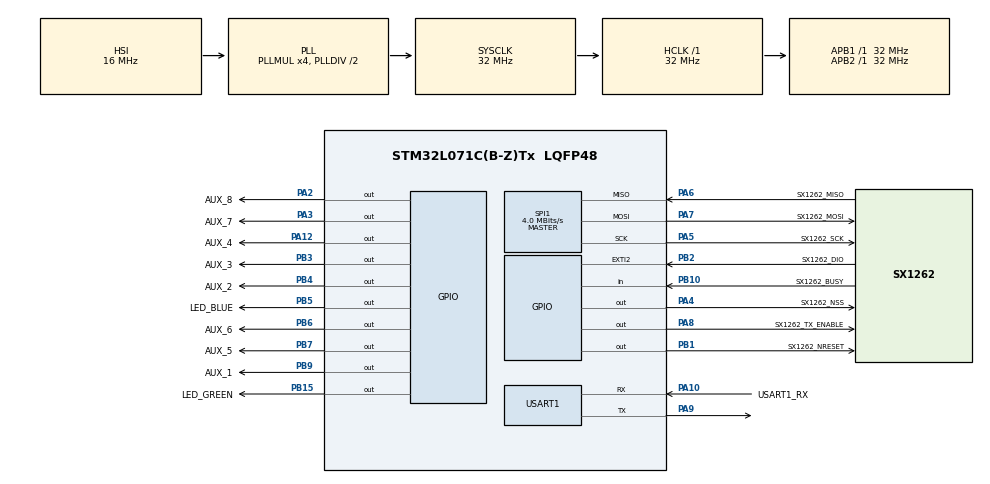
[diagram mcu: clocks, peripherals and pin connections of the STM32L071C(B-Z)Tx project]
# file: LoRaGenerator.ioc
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Mcu.Family=STM32L0
FREERTOS.Queues01=QueueCore,20,DATA_QUEUE,0,Static,QueueCoreBuffer,QueueCoreControlBlock;QueueRF,20,DATA_QUEUE,0,Static,QueueRFBuffer,QueueRFControlBlock
PA6.Mode=Full_Duplex_Master
VP_TIM6_VS_OPM.Mode=OPM_bit
SPI1.VirtualType=VM_MASTER
Dma.USART1_TX.1.MemInc=DMA_MINC_ENABLE
NVIC.PVD_IRQn=true\:3\:0\:true\:false\:true\:true\:true\:true
PA6.GPIO_Label=SX1262_MISO
PB6.GPIO_Label=AUX_6
PB15.Signal=GPIO_Output
FREERTOS.configUSE_TASK_NOTIFICATIONS=1
RCC.SYSCLKSource=RCC_SYSCLKSOURCE_PLLCLK
ProjectManager.StackSize=0x400
SYS.Mode=PWR_PVD_MODE_IT_RISING
PA12.Signal=GPIO_Output
Mcu.UserConstants=SHORT_PRESS_PERIOD,2;LONG_PRESS_PERIOD,40;REPEAT_PRESS_PERIOD,50;EXTRA_LONG_PRESS,55
SPI1.Direction=SPI_DIRECTION_2LINES
RCC.HCLKFreq_Value=32000000
RCC.APB2TimFreq_Value=32000000
PB6.Signal=GPIO_Output
SPI1.CalculateBaudRate=4.0 MBits/s
FREERTOS.configUSE_MALLOC_FAILED_HOOK=1
FREERTOS.configMINIMAL_STACK_SIZE=128
RCC.AHBFreq_Value=32000000
Dma.USART1_RX.0.Priority=DMA_PRIORITY_LOW
RCC.HSE_VALUE=8000000
FREERTOS.configUSE_TIMERS=1
PB2.Signal=GPXTI2
RCC.RTCClockSelection=RCC_RTCCLKSOURCE_LSI
RCC.PLLMUL=RCC_PLLMUL_4
RCC.RTCClockSelectionVirtual=RCC_RTCCLKSOURCE_LSE
PA14.Mode=Serial_Wire
PB1.GPIO_Label=SX1262_NRESET
PA10.GPIO_Label=USART1_RX
PB7.Signal=GPIO_Output
PA8.Signal=GPIO_Output
TIM6.Period=250
VP_FREERTOS_VS_CMSIS_V1.Mode=CMSIS_V1
Dma.USART1_RX.0.MemInc=DMA_MINC_ENABLE
FREERTOS.configTIMER_TASK_PRIORITY=3
FREERTOS.configTOTAL_HEAP_SIZE=2000
Dma.USART1_TX.1.PeriphDataAlignment=DMA_PDATAALIGN_BYTE
PB7.GPIO_Label=AUX_5
PB9.Signal=GPIO_Output
Mcu.Package=LQFP48
PA6.Signal=SPI1_MISO
PB1.Signal=GPIO_Output
PA2.GPIO_Label=AUX_8
PA10.Signal=USART1_RX
VP_SYS_V_PVD_IN.Mode=Mode_PVD_Int
PB5.GPIO_Label=LED_BLUE
Dma.Request1=USART1_TX
RCC.APB1TimFreq_Value=32000000
FREERTOS.configGENERATE_RUN_TIME_STATS=0
Dma.USART1_RX.0.Mode=DMA_CIRCULAR
Dma.USART1_TX.1.Priority=DMA_PRIORITY_LOW
Dma.Request0=USART1_RX
SPI1.BaudRatePrescaler=SPI_BAUDRATEPRESCALER_8
PA4.GPIO_Label=SX1262_NSS
Dma.USART1_RX.0.Instance=DMA1_Channel3
RCC.MSIClockRange=RCC_MSIRANGE_6
PB4.Signal=GPIO_Output
PA3.Signal=GPIO_Output
PA5.Mode=Full_Duplex_Master
Dma.USART1_TX.1.Direction=DMA_MEMORY_TO_PERIPH
PB3.GPIO_Label=AUX_3
RCC.MSI_VALUE=4194000
FREERTOS.configTIMER_QUEUE_LENGTH=10
Dma.USART1_TX.1.Instance=DMA1_Channel2
FREERTOS.Tasks01=TaskCore,0,350,StartTaskCore,As weak,NULL,Static,TaskCoreBuffer,TaskCoreControlBlock;TaskRF,0,300,StartTaskRF,As weak,NULL,Static,TaskRFBuffer,TaskRFControlBlock
PA7.Mode=Full_Duplex_Master
Dma.USART1_RX.0.PeriphDataAlignment=DMA_PDATAALIGN_BYTE
PB9.GPIO_Label=AUX_1
PA10.Mode=Asynchronous
FREERTOS.configCHECK_FOR_STACK_OVERFLOW=1
FREERTOS.configUSE_TICKLESS_IDLE=1
TIM6.Prescaler=2000
VP_TIM6_VS_ClockSourceINT.Mode=Enable_Timer
PA12.GPIO_Label=AUX_4
FREERTOS.INCLUDE_uxTaskGetStackHighWaterMark=1
NVIC.TIM6_IRQn=true\:0\:0\:false\:false\:true\:true\:true\:true
USART1.VirtualMode-Asynchronous=VM_ASYNC
PA13.Signal=SYS_SWDIO
RCC.HSI16_VALUE=16000000
PA9.Mode=Asynchronous
PA8.GPIO_Label=SX1262_TX_ENABLE
FREERTOS.configRECORD_STACK_HIGH_ADDRESS=1
ProjectManager.TargetToolchain=TrueSTUDIO
PB10.GPIO_Label=SX1262_BUSY
FREERTOS.configTIMER_TASK_STACK_DEPTH=300
FREERTOS.configUSE_TRACE_FACILITY=0
Dma.USART1_RX.0.Direction=DMA_PERIPH_TO_MEMORY
PA9.Signal=USART1_TX
RCC.LSE_VALUE=32768
Dma.USART1_RX.0.PeriphInc=DMA_PINC_DISABLE
PB10.Signal=GPIO_Input
PA5.Signal=SPI1_SCK
FREERTOS.MEMORY_ALLOCATION=2
Dma.USART1_TX.1.MemDataAlignment=DMA_MDATAALIGN_BYTE
board=custom
RCC.VCOOutputFreq_Value=64000000
NVIC.EXTI2_3_IRQn=true\:0\:0\:false\:false\:true\:false\:true\:true
RCC.APB2Freq_Value=32000000
PB4.GPIO_Label=AUX_2
PB15.GPIO_Label=LED_GREEN
SPI1.Mode=SPI_MODE_MASTER
Dma.USART1_RX.0.MemDataAlignment=DMA_MDATAALIGN_BYTE
PA13.Mode=Serial_Wire
Mcu.Name=STM32L071C(B-Z)Tx
PA2.Signal=GPIO_Output
PB3.Signal=GPIO_Output
PA4.Signal=GPIO_Output
RCC.SYSCLKFreq_VALUE=32000000
FREERTOS.configLIBRARY_MAX_SYSCALL_INTERRUPT_PRIORITY=3
PB5.Signal=GPIO_Output
PA7.GPIO_Label=SX1262_MOSI
PA5.GPIO_Label=SX1262_SCK
Dma.USART1_TX.1.Mode=DMA_NORMAL
PA14.Signal=SYS_SWCLK
PB2.GPIO_Label=SX1262_DIO
ProjectManager.HeapSize=0x200
Dma.USART1_TX.1.PeriphInc=DMA_PINC_DISABLE
FREERTOS.Timers01=TimerRepeateTX,CallbackRepeateTx,osTimerOnce,As weak,NULL,Static,TimerRepeateTXControlBlock;TimerUartRxCheck,CallbackUartRxCheck,osTimerOnce,As weak,NULL,Static,TimerUartRxCheckControlBlock;TimerTxRfTimeout,CallbackTxRfTimeout,osTimerOnce,As weak,NULL,Static,TimerTxRfTimeoutControlBlock
RCC.HSI_VALUE=16000000
NVIC.DMA1_Channel2_3_IRQn=true\:0\:0\:false\:false\:true\:true\:true\:true
RCC.APB1Freq_Value=32000000
PA3.GPIO_Label=AUX_7
PA7.Signal=SPI1_MOSI

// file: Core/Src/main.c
/* USER CODE BEGIN Header */
/**
  ******************************************************************************
  * @file           : main.c
  * @brief          : Main program body
  ******************************************************************************
  * @attention
  *
  * <h2><center>&copy; Copyright (c) 2020 STMicroelectronics.
  * All rights reserved.</center></h2>
  *
  * This software component is licensed by ST under Ultimate Liberty license
  * SLA0044, the "License"; You may not use this file except in compliance with
  * the License. You may obtain a copy of the License at:
  *                             www.st.com/SLA0044
  *
  ******************************************************************************
  */
/* USER CODE END Header */
#include "main.h"
#include "cmsis_os.h"
#include "dma.h"
#include "spi.h"
#include "tim.h"
#include "usart.h"
#include "gpio.h"

/* USER CODE BEGIN Includes */
#include "TaskRF.h"
#include "TaskCore.h"

/* USER CODE END Includes */

/* USER CODE BEGIN PV */
extern osMessageQId QueueRFHandle;
/* USER CODE END PV */

void SystemClock_Config(void);
void MX_FREERTOS_Init(void);

/* USER CODE BEGIN 0 */

/**
 *
 * @param error
 */
void LogError(uint64_t error)
{
#if (RUN_WITH_DEBUG==1)
	taskDISABLE_INTERRUPTS();

	while(1);

#else
	HAL_RCC_DeInit();
	HAL_NVIC_SystemReset();
	while(1);	//pripadne to schodi WD
#endif

}

#if (RUN_WITH_DEBUG==1)
void MeasureStart()
{
	LL_GPIO_SetOutputPin(TestPoint_GPIO_Port,TestPoint_Pin);
}

void MeasureStop()
{
	LL_GPIO_ResetOutputPin(TestPoint_GPIO_Port,TestPoint_Pin);
}
#endif

/**
 *
 * @return
 */
bool M_IsMcuLocked()
{
//	bool pulseCalibOK;
//	bool rfRssiCalibOK;
//	bool rfTxCalibOK;
	FLASH_OBProgramInitTypeDef flashTemp;

	/* cteni trva 27 us*/
	HAL_FLASHEx_OBGetConfig(&flashTemp);
	if(OB_RDP_LEVEL_0 != flashTemp.RDPLevel)
	{
		return true;
	}

//	memcpy(&pulseCalibOK,(uint8_t*)EEPROM_PULSE_CALIB_OK,1);
//	memcpy(&rfRssiCalibOK,(uint8_t*)EEPROM_PULSE_RSSI_OK,1);
//	memcpy(&rfTxCalibOK,(uint8_t*)EEPROM_RF_TX_OK,1);
//
//	if(rfTxCalibOK&&pulseCalibOK&&rfRssiCalibOK)
//	{
//		return true;
//	}

	return false;

}
/* USER CODE END 0 */

int main(void)
{
  /* USER CODE BEGIN 1 */
	// __DMB(); //ARM says to use a DMB instruction before relocating VTOR */
  SCB->VTOR = 0x8004000; //We relocate vector table to the APP sector
				 // __DSB(); //ARM says to use a DSB instruction just after relocating VTOR */
  /* USER CODE END 1 */

  /* MCU Configuration--------------------------------------------------------*/

  /* Reset of all peripherals, Initializes the Flash interface and the Systick. */
  HAL_Init();

  /* Configure the system clock */
  SystemClock_Config();

  /* USER CODE BEGIN SysInit */
  /* Systick turn of -we use a different timer*/
  //SysTick->CTRL&=~ SysTick_CTRL_ENABLE_Msk;

//  DBGMCU->CR |= DBGMCU_CR_DBG_SLEEP | DBGMCU_CR_DBG_STOP | DBGMCU_CR_DBG_STANDBY;
  __HAL_RCC_DBGMCU_CLK_ENABLE();

  LL_DBGMCU_EnableDBGSleepMode();
  LL_DBGMCU_EnableDBGStopMode();

  LL_DBGMCU_APB1_GRP1_FreezePeriph(	LL_DBGMCU_APB1_GRP1_TIM2_STOP|LL_DBGMCU_APB1_GRP1_TIM3_STOP|LL_DBGMCU_APB1_GRP1_TIM6_STOP|LL_DBGMCU_APB1_GRP1_TIM7_STOP
		  |LL_DBGMCU_APB1_GRP1_RTC_STOP|LL_DBGMCU_APB1_GRP1_WWDG_STOP | LL_DBGMCU_APB1_GRP1_IWDG_STOP);

  LL_DBGMCU_APB2_GRP1_FreezePeriph(LL_DBGMCU_APB2_GRP1_TIM22_STOP|LL_DBGMCU_APB2_GRP1_TIM21_STOP);

  LL_DBGMCU_APB1_GRP1_FreezePeriph(LL_DBGMCU_APB1_GRP1_WWDG_STOP);

  /* USER CODE END SysInit */

  /* Initialize all configured peripherals */
  MX_GPIO_Init();
  MX_DMA_Init();
  MX_TIM6_Init();
  MX_SPI1_Init();
  MX_USART1_UART_Init();
  /* USER CODE BEGIN 2 */
  //NVIC_ClearPendingIRQ(SysTick_IRQn);
  //NVIC_EnableIRQ(SysTick_IRQn);

//  while(1)
//  {
//	  LL_GPIO_TogglePin(LED_BLUE_GPIO_Port,LED_BLUE_Pin);
//	  HAL_Delay(1000);
//  }

  /* USER CODE END 2 */

  /* Call init function for freertos objects (in freertos.c) */
  MX_FREERTOS_Init();
  /* Start scheduler */
  osKernelStart();

  /* We should never get here as control is now taken by the scheduler */
  /* Infinite loop */
  while (1)
  {

  }
}

void SystemClock_Config(void)
{
  RCC_OscInitTypeDef RCC_OscInitStruct = {0};
  RCC_ClkInitTypeDef RCC_ClkInitStruct = {0};
  RCC_PeriphCLKInitTypeDef PeriphClkInit = {0};

  /** Configure the main internal regulator output voltage
  */
  __HAL_PWR_VOLTAGESCALING_CONFIG(PWR_REGULATOR_VOLTAGE_SCALE1);
  /** Initializes the RCC Oscillators according to the specified parameters
  * in the RCC_OscInitTypeDef structure.
  */
  RCC_OscInitStruct.OscillatorType = RCC_OSCILLATORTYPE_HSI;
  RCC_OscInitStruct.HSIState = RCC_HSI_ON;
  RCC_OscInitStruct.HSICalibrationValue = RCC_HSICALIBRATION_DEFAULT;
  RCC_OscInitStruct.PLL.PLLState = RCC_PLL_ON;
  RCC_OscInitStruct.PLL.PLLSource = RCC_PLLSOURCE_HSI;
  RCC_OscInitStruct.PLL.PLLMUL = RCC_PLLMUL_4;
  RCC_OscInitStruct.PLL.PLLDIV = RCC_PLLDIV_2;
  if (HAL_RCC_OscConfig(&RCC_OscInitStruct) != HAL_OK)
  {
    Error_Handler();
  }
  /** Initializes the CPU, AHB and APB buses clocks
  */
  RCC_ClkInitStruct.ClockType = RCC_CLOCKTYPE_HCLK|RCC_CLOCKTYPE_SYSCLK
                              |RCC_CLOCKTYPE_PCLK1|RCC_CLOCKTYPE_PCLK2;
  RCC_ClkInitStruct.SYSCLKSource = RCC_SYSCLKSOURCE_PLLCLK;
  RCC_ClkInitStruct.AHBCLKDivider = RCC_SYSCLK_DIV1;
  RCC_ClkInitStruct.APB1CLKDivider = RCC_HCLK_DIV1;
  RCC_ClkInitStruct.APB2CLKDivider = RCC_HCLK_DIV1;

  if (HAL_RCC_ClockConfig(&RCC_ClkInitStruct, FLASH_LATENCY_1) != HAL_OK)
  {
    Error_Handler();
  }
  PeriphClkInit.PeriphClockSelection = RCC_PERIPHCLK_USART1;
  PeriphClkInit.Usart1ClockSelection = RCC_USART1CLKSOURCE_PCLK2;
  if (HAL_RCCEx_PeriphCLKConfig(&PeriphClkInit) != HAL_OK)
  {
    Error_Handler();
  }
}

/* USER CODE BEGIN 4 */

/**
 *
 * @param GPIO_Pin
 */
void HAL_GPIO_EXTI_Callback(uint16_t GPIO_Pin)
{
	DATA_QUEUE SendData;
	SendData.pointer=NULL;
	signed portBASE_TYPE xHigherPriorityTaskWoken;
	xHigherPriorityTaskWoken=pdFALSE;

	if(GPIO_Pin==SX1262_DIO_Pin)
	{
		SendData.Address=ADDR_TO_RF_SX1262_IRQ;
		if(xQueueSendFromISR(QueueRFHandle,&SendData,&xHigherPriorityTaskWoken)!=pdPASS)
		{
			LogError(1289);
		}
		portYIELD_FROM_ISR(xHigherPriorityTaskWoken);
	}
}

/* USER CODE END 4 */

void Error_Handler(void)
{
  /* USER CODE BEGIN Error_Handler_Debug */
  /* User can add his own implementation to report the HAL error return state */
	LogError(6835168);
  /* USER CODE END Error_Handler_Debug */
}

/************************ (C) COPYRIGHT STMicroelectronics *****END OF FILE****/

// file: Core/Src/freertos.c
/* USER CODE BEGIN Header */
/**
  ******************************************************************************
  * File Name          : freertos.c
  * Description        : Code for freertos applications
  ******************************************************************************
  * @attention
  *
  * <h2><center>&copy; Copyright (c) 2020 STMicroelectronics.
  * All rights reserved.</center></h2>
  *
  * This software component is licensed by ST under Ultimate Liberty license
  * SLA0044, the "License"; You may not use this file except in compliance with
  * the License. You may obtain a copy of the License at:
  *                             www.st.com/SLA0044
  *
  ******************************************************************************
  */
/* USER CODE END Header */

#include "FreeRTOS.h"
#include "task.h"
#include "main.h"
#include "cmsis_os.h"

osThreadId TaskCoreHandle;
uint32_t TaskCoreBuffer[ 350 ];
osStaticThreadDef_t TaskCoreControlBlock;
osThreadId TaskRFHandle;
uint32_t TaskRFBuffer[ 300 ];
osStaticThreadDef_t TaskRFControlBlock;
osMessageQId QueueCoreHandle;
uint8_t QueueCoreBuffer[ 20 * sizeof( DATA_QUEUE ) ];
osStaticMessageQDef_t QueueCoreControlBlock;
osMessageQId QueueRFHandle;
uint8_t QueueRFBuffer[ 20 * sizeof( DATA_QUEUE ) ];
osStaticMessageQDef_t QueueRFControlBlock;
osTimerId TimerRepeateTXHandle;
osStaticTimerDef_t TimerRepeateTXControlBlock;
osTimerId TimerUartRxCheckHandle;
osStaticTimerDef_t TimerUartRxCheckControlBlock;
osTimerId TimerTxRfTimeoutHandle;
osStaticTimerDef_t TimerTxRfTimeoutControlBlock;

void StartTaskCore(void const * argument);
void StartTaskRF(void const * argument);
void CallbackRepeateTx(void const * argument);
void CallbackUartRxCheck(void const * argument);
void CallbackTxRfTimeout(void const * argument);

void MX_FREERTOS_Init(void); /* (MISRA C 2004 rule 8.1) */

/* Pre/Post sleep processing prototypes */
void PreSleepProcessing(uint32_t *ulExpectedIdleTime);
void PostSleepProcessing(uint32_t *ulExpectedIdleTime);

/* GetIdleTaskMemory prototype (linked to static allocation support) */
void vApplicationGetIdleTaskMemory( StaticTask_t **ppxIdleTaskTCBBuffer, StackType_t **ppxIdleTaskStackBuffer, uint32_t *pulIdleTaskStackSize );

/* GetTimerTaskMemory prototype (linked to static allocation support) */
void vApplicationGetTimerTaskMemory( StaticTask_t **ppxTimerTaskTCBBuffer, StackType_t **ppxTimerTaskStackBuffer, uint32_t *pulTimerTaskStackSize );

/* Hook prototypes */
void vApplicationStackOverflowHook(xTaskHandle xTask, signed char *pcTaskName);
void vApplicationMallocFailedHook(void);

/* USER CODE BEGIN 4 */
__weak void vApplicationStackOverflowHook(xTaskHandle xTask, signed char *pcTaskName)
{
   /* Run time stack overflow checking is performed if
   configCHECK_FOR_STACK_OVERFLOW is defined to 1 or 2. This hook function is
   called if a stack overflow is detected. */
}
/* USER CODE END 4 */

/* USER CODE BEGIN 5 */
__weak void vApplicationMallocFailedHook(void)
{
   /* vApplicationMallocFailedHook() will only be called if
   configUSE_MALLOC_FAILED_HOOK is set to 1 in FreeRTOSConfig.h. It is a hook
   function that will get called if a call to pvPortMalloc() fails.
   pvPortMalloc() is called internally by the kernel whenever a task, queue,
   timer or semaphore is created. It is also called by various parts of the
   demo application. If heap_1.c or heap_2.c are used, then the size of the
   heap available to pvPortMalloc() is defined by configTOTAL_HEAP_SIZE in
   FreeRTOSConfig.h, and the xPortGetFreeHeapSize() API function can be used
   to query the size of free heap space that remains (although it does not
   provide information on how the remaining heap might be fragmented). */
}
/* USER CODE END 5 */

/* USER CODE BEGIN PREPOSTSLEEP */
__weak void PreSleepProcessing(uint32_t *ulExpectedIdleTime)
{
/* place for user code */
}

__weak void PostSleepProcessing(uint32_t *ulExpectedIdleTime)
{
/* place for user code */
}
/* USER CODE END PREPOSTSLEEP */

/* USER CODE BEGIN GET_IDLE_TASK_MEMORY */
static StaticTask_t xIdleTaskTCBBuffer;
static StackType_t xIdleStack[configMINIMAL_STACK_SIZE];

void vApplicationGetIdleTaskMemory( StaticTask_t **ppxIdleTaskTCBBuffer, StackType_t **ppxIdleTaskStackBuffer, uint32_t *pulIdleTaskStackSize )
{
  *ppxIdleTaskTCBBuffer = &xIdleTaskTCBBuffer;
  *ppxIdleTaskStackBuffer = &xIdleStack[0];
  *pulIdleTaskStackSize = configMINIMAL_STACK_SIZE;
  /* place for user code */
}
/* USER CODE END GET_IDLE_TASK_MEMORY */

/* USER CODE BEGIN GET_TIMER_TASK_MEMORY */
static StaticTask_t xTimerTaskTCBBuffer;
static StackType_t xTimerStack[configTIMER_TASK_STACK_DEPTH];

void vApplicationGetTimerTaskMemory( StaticTask_t **ppxTimerTaskTCBBuffer, StackType_t **ppxTimerTaskStackBuffer, uint32_t *pulTimerTaskStackSize )
{
  *ppxTimerTaskTCBBuffer = &xTimerTaskTCBBuffer;
  *ppxTimerTaskStackBuffer = &xTimerStack[0];
  *pulTimerTaskStackSize = configTIMER_TASK_STACK_DEPTH;
  /* place for user code */
}
/* USER CODE END GET_TIMER_TASK_MEMORY */

void MX_FREERTOS_Init(void) {

  /* Create the timer(s) */
  /* definition and creation of TimerRepeateTX */
  osTimerStaticDef(TimerRepeateTX, CallbackRepeateTx, &TimerRepeateTXControlBlock);
  TimerRepeateTXHandle = osTimerCreate(osTimer(TimerRepeateTX), osTimerOnce, NULL);

  /* definition and creation of TimerUartRxCheck */
  osTimerStaticDef(TimerUartRxCheck, CallbackUartRxCheck, &TimerUartRxCheckControlBlock);
  TimerUartRxCheckHandle = osTimerCreate(osTimer(TimerUartRxCheck), osTimerOnce, NULL);

  /* definition and creation of TimerTxRfTimeout */
  osTimerStaticDef(TimerTxRfTimeout, CallbackTxRfTimeout, &TimerTxRfTimeoutControlBlock);
  TimerTxRfTimeoutHandle = osTimerCreate(osTimer(TimerTxRfTimeout), osTimerOnce, NULL);

  /* Create the queue(s) */
  /* definition and creation of QueueCore */
  osMessageQStaticDef(QueueCore, 20, DATA_QUEUE, QueueCoreBuffer, &QueueCoreControlBlock);
  QueueCoreHandle = osMessageCreate(osMessageQ(QueueCore), NULL);

  /* definition and creation of QueueRF */
  osMessageQStaticDef(QueueRF, 20, DATA_QUEUE, QueueRFBuffer, &QueueRFControlBlock);
  QueueRFHandle = osMessageCreate(osMessageQ(QueueRF), NULL);

  /* Create the thread(s) */
  /* definition and creation of TaskCore */
  osThreadStaticDef(TaskCore, StartTaskCore, osPriorityNormal, 0, 350, TaskCoreBuffer, &TaskCoreControlBlock);
  TaskCoreHandle = osThreadCreate(osThread(TaskCore), NULL);

  /* definition and creation of TaskRF */
  osThreadStaticDef(TaskRF, StartTaskRF, osPriorityNormal, 0, 300, TaskRFBuffer, &TaskRFControlBlock);
  TaskRFHandle = osThreadCreate(osThread(TaskRF), NULL);

}

__weak void StartTaskCore(void const * argument)
{
  for(;;)
  {
    osDelay(1);
  }
}

__weak void StartTaskRF(void const * argument)
{
  for(;;)
  {
    osDelay(1);
  }
}

/* CallbackRepeateTx function */
__weak void CallbackRepeateTx(void const * argument)
{
}

/* CallbackUartRxCheck function */
__weak void CallbackUartRxCheck(void const * argument)
{
}

/* CallbackTxRfTimeout function */
__weak void CallbackTxRfTimeout(void const * argument)
{
}

/************************ (C) COPYRIGHT STMicroelectronics *****END OF FILE****/
